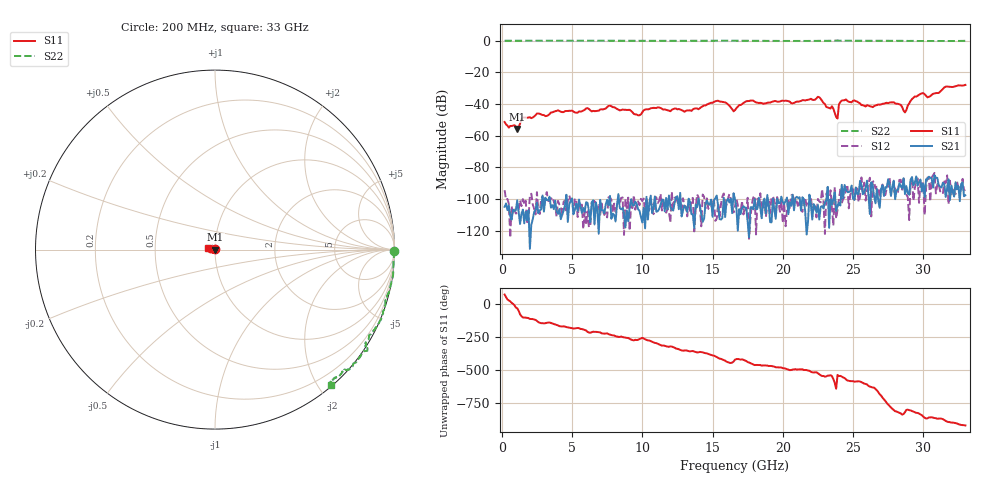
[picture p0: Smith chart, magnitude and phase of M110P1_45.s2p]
# GHZ S RI R 50
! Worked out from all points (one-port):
!   329 points, 200 MHz to 33 GHz, reference 50 ohm
!   lowest |S11| = -55.7 dB at 1.1 GHz (marker M1), VSWR 1.00, Z = 50.1 - j0.0953 ohm
!   |S11| at or under -10 dB: start of sweep to end of sweep
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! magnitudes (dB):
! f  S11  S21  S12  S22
! 200 MHz  -51.4  -105.0  -94.4  0.0
! 1.1 GHz  -55.7  -100.9  -108.9  0.0
! 1.5 GHz  -48.5  -106.7  -100.1  0.0
! 2.5 GHz  -46.0  -102.2  -95.7  0.0
! 5.7 GHz  -44.6  -108.8  -103.6  0.0
! 7.7 GHz  -41.1  -98.1  -98.9  0.0
! 9.7 GHz  -47.2  -106.5  -101.5  0.0
! 11.2 GHz  -42.2  -106.3  -101.2  -0.1
! 13 GHz  -44.9  -104.2  -104.7  0.0
! 15.4 GHz  -37.9  -104.6  -102.6  0.0
! 16.6 GHz  -43.9  -100.2  -104.9  0.0
! 17.7 GHz  -37.8  -105.4  -112.5  0.0
! 22.1 GHz  -37.3  -113.1  -105.8  -0.1
! 23.5 GHz  -41.4  -103.6  -106.0  0.0
! 23.9 GHz  -49.1  -104.6  -106.8  0.2
! 24 GHz  -40.2  -102.6  -99.9  0.1
! 24.2 GHz  -37.8  -91.1  -102.7  0.0
! 26.4 GHz  -42.0  -91.3  -89.1  0.0
! 27.6 GHz  -39.1  -90.6  -86.5  0.0
! 28.7 GHz  -45.3  -96.9  -95.5  -0.1
! 29.4 GHz  -35.3  -89.6  -93.1  -0.1
! 33 GHz  -27.9  -97.7  -94.3  -0.1
